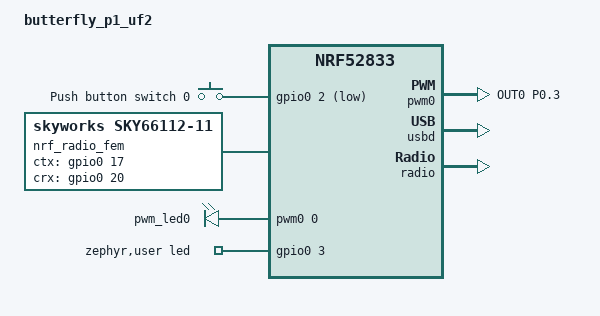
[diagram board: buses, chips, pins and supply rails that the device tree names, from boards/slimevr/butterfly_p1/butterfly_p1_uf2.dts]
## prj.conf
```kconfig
#CONFIG_NCS_SAMPLES_DEFAULTS
CONFIG_ASSERT=y
CONFIG_ASSERT_NO_COND_INFO=y
CONFIG_ASSERT_NO_MSG_INFO=y
CONFIG_RESET_ON_FATAL_ERROR=y

CONFIG_NCS_APPLICATION_BOOT_BANNER_STRING="SlimeVR-Tracker-nRF-Receiver"
#CONFIG_NCS_BOOT_BANNER=n
CONFIG_BOOT_BANNER=n

CONFIG_ESB=y
CONFIG_NEWLIB_LIBC=y
CONFIG_CBPRINTF_FP_SUPPORT=y

CONFIG_FPU=y

CONFIG_USB_DEVICE_STACK=y
CONFIG_USB_DEVICE_HID=y
CONFIG_USB_DEVICE_VID=0x1209
CONFIG_USB_DEVICE_PID=0x7690
CONFIG_USB_HID_BOOT_PROTOCOL=y
CONFIG_USB_DEVICE_INITIALIZE_AT_BOOT=n
CONFIG_USB_CDC_ACM=y
CONFIG_UART_INTERRUPT_DRIVEN=y
#CONFIG_USB_WORKQUEUE_STACK_SIZE=512

CONFIG_SERIAL=y
CONFIG_CONSOLE=y
CONFIG_UART_CONSOLE=y
CONFIG_UART_LINE_CTRL=y

#CONFIG_USE_SEGGER_RTT=y
CONFIG_LOG=y
#CONFIG_PRINTK=y
CONFIG_LOG_MODE_DEFERRED=y
CONFIG_LOG_SPEED=y
#CONFIG_LOG_BACKEND_RTT=y
CONFIG_USB_DRIVER_LOG_LEVEL_WRN=y
CONFIG_USB_DEVICE_LOG_LEVEL_WRN=y
CONFIG_USB_CDC_ACM_LOG_LEVEL_OFF=y
CONFIG_LOG_PROCESS_THREAD_SLEEP_MS=100
CONFIG_LOG_PROCESS_THREAD_STACK_SIZE=1024
CONFIG_LOG_PROCESS_THREAD_STARTUP_DELAY_MS=0

CONFIG_LOG_BACKEND_UART=y
CONFIG_LOG_MODE_DEFERRED=y

CONFIG_CONSOLE_SUBSYS=y
CONFIG_CONSOLE_GETLINE=y

CONFIG_NVS_LOG_LEVEL_WRN=y
CONFIG_USB_HID_LOG_LEVEL_WRN=y

CONFIG_USB_DEVICE_SOF=y
CONFIG_USB_HID_REPORTS=256

#CONFIG_USB_HID_POLL_INTERVAL_MS=1
CONFIG_USB_HID_POLL_INTERVAL_MS=0
CONFIG_HID_INTERRUPT_EP_MPS=64
#CONFIG_ENABLE_HID_INT_OUT_EP=y

CONFIG_GPIO=y
CONFIG_PWM=y

CONFIG_NVS=y

CONFIG_FLASH=y
CONFIG_FLASH_PAGE_LAYOUT=y
CONFIG_FLASH_MAP=y

CONFIG_SETTINGS=y
CONFIG_SETTINGS_NVS=y
CONFIG_SETTINGS_RUNTIME=y
CONFIG_SETTINGS_NONE=y

CONFIG_MPU_ALLOW_FLASH_WRITE=y

CONFIG_NVS_LOOKUP_CACHE=y

CONFIG_ESB_TX_FIFO_SIZE=1
CONFIG_NRFX_TIMER1=y

#speed up boot? (use internal rc oscillator)
#CONFIG_CLOCK_CONTROL_NRF_K32SRC_RC=y
#speed up boot? (synthesize lf clock)
CONFIG_CLOCK_CONTROL_NRF_K32SRC_SYNTH=y

# dont need it
CONFIG_CRYPTO=n

CONFIG_THREAD_NAME=y
#CONFIG_SYSTEM_WORKQUEUE_STACK_SIZE=256
CONFIG_MAIN_STACK_SIZE=512

#CONFIG_HEAP_MEM_POOL_SIZE=2048
CONFIG_ISR_STACK_SIZE=1024
```

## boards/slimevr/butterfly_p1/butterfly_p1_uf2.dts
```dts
// Copyright (c) 2024 Nordic Semiconductor ASA
// SPDX-License-Identifier: Apache-2.0

/dts-v1/;
#include <nordic/nrf52833_qiaa.dtsi>

//move to dtsi?
&pinctrl {
	pwm0_default: pwm0_default {
		group1 {
			psels = <NRF_PSEL(PWM_OUT0, 0, 3)>;
			nordic,drive-mode = <NRF_DRIVE_D0S1>;
		};
	};

	pwm0_sleep: pwm0_sleep {
		group1 {
			psels = <NRF_PSEL(PWM_OUT0, 0, 3)>;
			low-power-enable;
		};
	};
};
//end

/ {
	model = "butterfly_p1_uf2";
	compatible = "butterfly_p1_uf2";

	aliases {
		sw0 = &button0;
		pwm-led0 = &pwm_led0;
	};

	buttons {
		compatible = "gpio-keys";
		button0: button_0 {
			gpios = <&gpio0 2 (GPIO_PULL_UP | GPIO_ACTIVE_LOW)>;
			label = "Push button switch 0";
		};
	};

	chosen {
		zephyr,sram = &sram0;
		zephyr,flash = &flash0;
		zephyr,console = &cdc_acm_uart0;
		zephyr,shell-uart = &cdc_acm_uart0;
	};

	nrf_radio_fem: skyFem {
	    compatible = "skyworks,sky66112-11", "generic-fem-two-ctrl-pins";
	    ctx-gpios = <&gpio0 17 GPIO_ACTIVE_HIGH>;
	    ctx-settle-time-us = <1>;
	    crx-gpios = <&gpio0 20 GPIO_ACTIVE_HIGH>;
	    crx-settle-time-us = <1>;
	    tx-gain-db = <22>;
	    rx-gain-db = <12>;
	};

	pwmleds {
		compatible = "pwm-leds";
		pwm_led0: pwm_led_0 {
			pwms = <&pwm0 0 PWM_MSEC(1) PWM_POLARITY_NORMAL>;
		};
	};

	zephyr,user {
		led-gpios = <&gpio0 3 GPIO_OPEN_SOURCE>;
	};
};

&gpiote {
	status = "okay";
};

&gpio0 {
	status = "okay";
};

&gpio1 {
	status = "okay";
};

&pwm0 {
	status = "okay";
	pinctrl-0 = <&pwm0_default>;
	pinctrl-1 = <&pwm0_sleep>;
	pinctrl-names = "default", "sleep";
};

zephyr_udc0: &usbd {
	compatible = "nordic,nrf-usbd";
	status = "okay";
	cdc_acm_uart0: cdc_acm_uart0 {
		compatible = "zephyr,cdc-acm-uart";
	};
};

&nfct {
	status = "disabled";
};

&radio {
	fem = <&nrf_radio_fem>;
};
```

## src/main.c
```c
/*
	SlimeVR Code is placed under the MIT license
	Copyright (c) 2025 SlimeVR Contributors

	Permission is hereby granted, free of charge, to any person obtaining a copy
	of this software and associated documentation files (the "Software"), to deal
	in the Software without restriction, including without limitation the rights
	to use, copy, modify, merge, publish, distribute, sublicense, and/or sell
	copies of the Software, and to permit persons to whom the Software is
	furnished to do so, subject to the following conditions:

	The above copyright notice and this permission notice shall be included in
	all copies or substantial portions of the Software.

	THE SOFTWARE IS PROVIDED "AS IS", WITHOUT WARRANTY OF ANY KIND, EXPRESS OR
	IMPLIED, INCLUDING BUT NOT LIMITED TO THE WARRANTIES OF MERCHANTABILITY,
	FITNESS FOR A PARTICULAR PURPOSE AND NONINFRINGEMENT. IN NO EVENT SHALL THE
	AUTHORS OR COPYRIGHT HOLDERS BE LIABLE FOR ANY CLAIM, DAMAGES OR OTHER
	LIABILITY, WHETHER IN AN ACTION OF CONTRACT, TORT OR OTHERWISE, ARISING FROM,
	OUT OF OR IN CONNECTION WITH THE SOFTWARE OR THE USE OR OTHER DEALINGS IN
	THE SOFTWARE.
*/
#include "globals.h"
#include "system/system.h"

#include <zephyr/kernel.h>

LOG_MODULE_REGISTER(main, LOG_LEVEL_INF);

int main(void)
{
	/*
	 * @brief 程式主進入點
	 *
	 * Zephyr RTOS 會在核心初始化完成後呼叫 main() 函式。
	 * 在這個專案中，大部分的初始化和主要邏輯都透過 Zephyr 的
	 * application-specific system initialization 功能來完成，
	 * 這意味著許多模組會在 main() 被呼叫之前就自行初始化。
	 *
	 * 詳情可參考 Zephyr 的文件：
	 * https://docs.zephyrproject.org/latest/application/index.html#application-specific-system-initialization
	 */

	// 這裡的程式碼會在所有自動初始化的模組都完成後執行。
	// 目前它只做了一件事：設定 LED 的狀態，以表示系統正在正常運作。
	set_led(SYS_LED_PATTERN_ACTIVE_PERSIST, SYS_LED_PRIORITY_SYSTEM);

	// main 函式在 Zephyr 中通常不會返回。如果返回 0，系統會進入 idle 狀態。
	return 0;
}
```

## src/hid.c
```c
/*
	SlimeVR Code is placed under the MIT license
	Copyright (c) 2025 SlimeVR Contributors

	Permission is hereby granted, free of charge, to any person obtaining a copy
	of this software and associated documentation files (the "Software"), to deal
	in the Software without restriction, including without limitation the rights
	to use, copy, modify, merge, publish, distribute, sublicense, and/or sell
	copies of the Software, and to permit persons to whom the Software is
	furnished to do so, subject to the following conditions:

	The above copyright notice and this permission notice shall be included in
	all copies or substantial portions of the Software.

	THE SOFTWARE IS PROVIDED "AS IS", WITHOUT WARRANTY OF ANY KIND, EXPRESS OR
	IMPLIED, INCLUDING BUT NOT LIMITED TO THE WARRANTIES OF MERCHANTABILITY,
	FITNESS FOR A PARTICULAR PURPOSE AND NONINFRINGEMENT. IN NO EVENT SHALL THE
	AUTHORS OR COPYRIGHT HOLDERS BE LIABLE FOR ANY CLAIM, DAMAGES OR OTHER
	LIABILITY, WHETHER IN AN ACTION OF CONTRACT, TORT OR OTHERWISE, ARISING FROM,
	OUT OF OR IN CONNECTION WITH THE SOFTWARE OR THE USE OR OTHER DEALINGS IN
	THE SOFTWARE.
*/
#include "globals.h"

#include <zephyr/kernel.h>
#include <zephyr/usb/usb_device.h>
#include <zephyr/usb/class/usb_hid.h>

// @brief 這個檔案負責所有與 USB HID (Human Interface Device) 相關的通訊。
// 接收器透過模擬一個 HID 裝置，將從 trackers 收到的姿態資料傳送給電腦上的 SlimeVR Server。

// @brief Zephyr 工作佇列 (Work Queue) 項目，用於在背景執行緒中非同步地傳送 HID 報告。
static struct k_work report_send;

// @brief 定義單一 tracker 報告的資料結構。每個報告 16 位元組。
static struct tracker_report {
	uint8_t data[16];
} __packed report = {
	.data = {0}
};;

// @brief 這是一個環形緩衝區 (Ring Buffer) 或 FIFO，用於儲存從無線端收到、等待透過 USB 傳送的 tracker 報告。
// MAX_TRACKERS 定義了可以同時處理的最大 tracker 數量。
struct tracker_report reports[MAX_TRACKERS];
// 使用原子變數 (atomic) 來安全地在主執行緒和中斷服務常式之間共享讀寫索引，避免競態條件 (race condition)。
atomic_t report_write_index = 0; // 下一個要寫入的位置
atomic_t report_read_index = 0;  // 下一個要讀取的位置
// 如果 read_index == write_index，表示緩衝區是空的。
// 如果 (write_index + 1) % MAX_TRACKERS == read_index，表示緩衝區是滿的。


static bool configured; // USB 裝置是否已被主機成功配置
static const struct device *hdev; // HID 裝置的驅動程式實例
static ATOMIC_DEFINE(hid_ep_in_busy, 1); // 一個原子標誌，用於表示 HID IN Endpoint 是否正在忙於傳輸資料。

#define HID_EP_BUSY_FLAG	0
#define REPORT_PERIOD		K_MSEC(1) // 定期觸發報告傳送的間隔 (1 毫秒)
#define HID_EP_REPORT_COUNT 4 // 每次 USB 傳輸時，捆綁傳送的報告數量

// @brief 用於捆綁多個報告以進行單次 USB 傳輸的緩衝區。這可以提高傳輸效率。
struct tracker_report ep_report_buffer[HID_EP_REPORT_COUNT];

LOG_MODULE_REGISTER(hid_event, LOG_LEVEL_INF);

static void report_event_handler(struct k_timer *dummy);
// @brief 定義一個 Zephyr 計時器，它會定期觸發 `report_event_handler`。
static K_TIMER_DEFINE(event_timer, report_event_handler, NULL);

/**
 * @brief USB HID 報告描述符 (Report Descriptor)
 *
 * 這個描述符告訴主機 (電腦) 這個 HID 裝置是什麼樣的裝置，以及它會傳送什麼樣的資料。
 * 在這裡，它被定義為一個通用的、未指定用途的裝置，可以傳送 64 位元組的輸入報告。
 * SlimeVR Server 會知道如何解析這個報告。
 */
static const uint8_t hid_report_desc[] = {
	HID_USAGE_PAGE(HID_USAGE_GEN_DESKTOP),
	HID_USAGE(HID_USAGE_GEN_DESKTOP_UNDEFINED),
	HID_COLLECTION(HID_COLLECTION_APPLICATION),
		HID_USAGE(HID_USAGE_GEN_DESKTOP_UNDEFINED),
		HID_REPORT_SIZE(8),       // 每個欄位 8 位元
		HID_REPORT_COUNT(64),     // 總共 64 個欄位 (64 位元組)
		HID_INPUT(0x02),          // 這是一個輸入報告 (裝置 -> 主機)
	HID_END_COLLECTION,
};

// 用於輪流傳送每個 tracker 的註冊資訊
uint16_t sent_device_addr = 0;
bool usb_enabled = false;
int64_t last_registration_sent = 0;

/**
 * @brief 封裝一個 tracker 的註冊資訊封包
 *
 * 這種封包 (類型 255) 用於告訴 SlimeVR Server 一個 tracker 的 ID 和它的無線位址之間的關聯。
 */
static void packet_device_addr(uint8_t *report, uint16_t id) // associate id and tracker address
{
	report[0] = 255; // 封包類型 255 代表註冊資訊
	report[1] = id;  // Tracker ID
	memcpy(&report[2], &stored_tracker_addr[id], 6); // Tracker 的 6 位元組無線位址
	memset(&report[8], 0, 8); // 剩餘 8 位元組未使用
}

static uint32_t dropped_reports = 0;
static uint16_t max_dropped_reports = 0;

/**
 * @brief 傳送 HID 報告的背景工作函式
 *
 * 這個函式會被 `report_send` 工作佇列所執行。
 * 它會檢查 FIFO 中是否有待傳送的 tracker 資料，如果有的話，就把它們和其他註冊資訊一起
 * 透過 USB HID IN endpoint 傳送出去。
 */
static void send_report(struct k_work *work)
{
	if (!usb_enabled || !stored_trackers) return;

	size_t write_idx = (size_t)atomic_get(&report_write_index);
	size_t read_idx = (size_t)atomic_get(&report_read_index);

	// 如果 FIFO 是空的，且距離上次傳送註冊資訊還不到 100ms，就直接返回。
	// 這樣可以避免過於頻繁地傳送註冊資訊。
	if (write_idx == read_idx && k_uptime_get() - 100 < last_registration_sent) {
		return;
	}

	int ret, wrote;

	last_registration_sent = k_uptime_get();

	// 檢查 HID IN endpoint 是否空閒。如果空閒，就設定為忙碌狀態並開始傳送。
	if (!atomic_test_and_set_bit(hid_ep_in_busy, HID_EP_BUSY_FLAG)) {
		// 計算 FIFO 中有多少個待傳送的報告
		int available_reports = write_idx - read_idx;
		if (available_reports < 0) available_reports += MAX_TRACKERS;
		size_t reports_to_send = (size_t)((available_reports > HID_EP_REPORT_COUNT) ? HID_EP_REPORT_COUNT : available_reports);

		int epind;
		// 從 FIFO 中複製 tracker 資料到端點緩衝區
		for (epind = 0; epind < reports_to_send; epind++) {
			ep_report_buffer[epind] = reports[read_idx];
			epind++;
			read_idx++;
			if (read_idx == MAX_TRACKERS) read_idx = 0;
			atomic_set(&report_read_index, read_idx); // 更新讀取索引
		}

		// 如果還有剩餘的空間，就用註冊資訊來填充。
		// 這樣可以確保即使沒有新的 tracker 資料，註冊資訊也能定期被傳送。
		for (; epind < HID_EP_REPORT_COUNT; epind++) {
			if (stored_trackers > 0) {
				packet_device_addr(ep_report_buffer[epind].data, sent_device_addr);
				sent_device_addr = (sent_device_addr + 1) % stored_trackers; // 輪流傳送每個 tracker
			}
		}

		// 透過 USB HID 中斷端點寫入資料
		ret = hid_int_ep_write(hdev, (uint8_t *)ep_report_buffer, sizeof(report) * HID_EP_REPORT_COUNT, &wrote);

		if (ret != 0) {
			LOG_ERR("Failed to submit report");
		}
	} else {
		// Endpoint 正在忙碌，本次不傳送
		//LOG_DBG("HID IN endpoint busy");
	}
}

#define DROPPED_REPORT_LOG_INTERVAL 5000

/**
 * @brief 一個獨立的執行緒，用於定期印出被丟棄的報告數量。
 *
 * 如果 FIFO 滿了，新的報告就會被丟棄。這個執行緒有助於在除錯時監控系統是否因為處理不過來而丟失資料。
 */
static void hid_dropped_reports_logging(void)
{
	while (1) {
		if (dropped_reports) LOG_INF("Dropped reports: %u (max: %u)", dropped_reports, max_dropped_reports);
		dropped_reports = 0;
		max_dropped_reports = 0;
		k_msleep(DROPPED_REPORT_LOG_INTERVAL);
	}
}

K_THREAD_DEFINE(hid_dropped_reports_logging_thread, 256, hid_dropped_reports_logging, NULL, NULL, NULL, 6, 0, 0);

/**
 * @brief HID IN Endpoint 中斷傳輸完成的回呼函式
 *
 * 當 `hid_int_ep_write` 的資料成功傳送給主機後，USB 驅動程式會呼叫這個函式。
 * 它的主要作用是清除 `hid_ep_in_busy` 標誌，這樣 `send_report` 函式就知道可以傳送下一批資料了。
 */
static void int_in_ready_cb(const struct device *dev)
{
	ARG_UNUSED(dev);
	if (!atomic_test_and_clear_bit(hid_ep_in_busy, HID_EP_BUSY_FLAG)) {
		LOG_WRN("IN endpoint callback without preceding buffer write");
	}
}

/**
 * @brief HID On Idle 回呼函式 (在此專案中較少使用)
 *
 * 當主機一段時間沒有請求報告時，可能會觸發此回呼。
 */
static void on_idle_cb(const struct device *dev, uint16_t report_id)
{
	LOG_DBG("On idle callback");
	k_work_submit(&report_send);
}

/**
 * @brief 由 `event_timer` 定期呼叫的事件處理器
 *
 * 這個函式只是簡單地將 `report_send` 工作提交到系統工作佇列，
 * 觸發一次 `send_report` 函式的執行。
 */
static void report_event_handler(struct k_timer *dummy)
{
	if (usb_enabled)
		k_work_submit(&report_send);
}

static void protocol_cb(const struct device *dev, uint8_t protocol)
{
	LOG_INF("New protocol: %s", protocol == HID_PROTOCOL_BOOT ?
		"boot" : "report");
}

// @brief 定義一組 HID 操作的回呼函式，並傳遞給 USB HID 驅動程式。
static const struct hid_ops ops = {
	.int_in_ready = int_in_ready_cb,
	.on_idle = on_idle_cb,
	.protocol_change = protocol_cb,
};

/**
 * @brief USB 裝置狀態改變時的回呼函式
 *
 * 這個函式處理 USB 的各種事件，例如重置、成功配置等。
 * 當 `status` 為 `USB_DC_CONFIGURED` 時，表示裝置已準備好與主機通訊。
 */
static void status_cb(enum usb_dc_status_code status, const uint8_t *param)
{
	switch (status) {
	case USB_DC_RESET:
		configured = false;
		break;
	case USB_DC_CONFIGURED:
		if (*param > 0 && !configured) { // param > 0 表示配置成功
			int_in_ready_cb(hdev); // 清除 busy 標誌，準備首次傳送
			configured = true;
		} else {
			configured = false;
		}
		break;
	default:
		break;
	}
}

/**
 * @brief HID 裝置的初始化函式
 *
 * 透過 `SYS_INIT` 巨集，這個函式會在應用程式啟動時被自動呼叫。
 * 它負責取得 HID 驅動程式的實例、註冊 HID 裝置、設定回呼函式，並啟動定時器。
 */
static int composite_pre_init()
{
	hdev = device_get_binding("HID_0");
	if (hdev == NULL) {
		LOG_ERR("Cannot get USB HID Device");
		return -ENODEV;
	}

	usb_hid_register_device(hdev, hid_report_desc, sizeof(hid_report_desc),
				&ops);

	atomic_set_bit(hid_ep_in_busy, HID_EP_BUSY_FLAG);
	k_timer_start(&event_timer, REPORT_PERIOD, REPORT_PERIOD);

	return usb_hid_init(hdev);
}

SYS_INIT(composite_pre_init, APPLICATION, CONFIG_KERNEL_INIT_PRIORITY_DEVICE);

/**
 * @brief 啟用 USB 的獨立執行緒
 *
 * 呼叫 `usb_enable` 會啟動 USB 硬體並開始處理來自電腦的事件。
 * 將它放在一個獨立的執行緒中可以避免阻塞主執行緒。
 */
void usb_init_thread(void)
{
	usb_enable(status_cb);
	k_work_init(&report_send, send_report);
	usb_enabled = true;
}

K_THREAD_DEFINE(usb_init_thread_id, 256, usb_init_thread, NULL, NULL, NULL, 6, 0, 0);

// @brief 封包格式速查表
//|b0      |b1      |b2      |b3      |b4      |b5      |b6      |b7      |b8      |b9      |b10     |b11     |b12     |b13     |b14     |b15     |
//|type    |id      |packet data                                                                                                                  |
//|0       |id      |proto   |batt    |batt_v  |temp    |brd_id  |mcu_id  |imu_id  |mag_id  |fw_date          |major   |minor   |patch   |rssi    | info
//|1       |id      |q0               |q1               |q2               |q3               |a0               |a1               |a2               | full precision quat
//|2       |id      |batt    |batt_v  |temp    |q_buf                              |a0               |a1               |a2               |rssi    | reduced precision quat
//|3	   |id      |svr_stat|status  |resv                                                                                              |rssi    | status
//|4       |id      |q0               |q1               |q2               |q3               |m0               |m1               |m2               |
//|255     |id      |addr                                                 |resv                                                                   | tracker id association

#ifndef CONFIG_SOC_NRF52820
#include "util.h"
// @brief 以下區塊用於偵測和過濾異常的旋轉資料 (四元數)。
// 透過比較當前封包和上一個有效封包之間的旋轉差異，來判斷資料是否可能出錯。
// 這種機制可以過濾掉因為無線干擾等原因造成的瞬時跳動資料。

// 上一個有效的資料
static float last_q_trackers[MAX_TRACKERS][4] = {0};
static uint32_t last_v_trackers[MAX_TRACKERS] = {0};
static uint8_t last_p_trackers[MAX_TRACKERS] = {0};
static int last_valid_trackers[MAX_TRACKERS] = {0};
// 上一個收到的資料 (不論是否有效)
static float cur_q_trackers[MAX_TRACKERS][4] = {0};
static uint32_t cur_v_trackers[MAX_TRACKERS] = {0};
static uint8_t cur_p_trackers[MAX_TRACKERS] = {0};
#endif

/**
 * @brief 將一個從無線端收到的封包寫入 HID FIFO
 *
 * 這是外部模組 (如 ESB 無線通訊模組) 呼叫的函式，用於將 tracker 資料傳遞給 HID 模組。
 *
 * @param data 指向 16 位元組封包資料的指標
 * @param rssi 接收時的信號強度指示
 */
void hid_write_packet_n(uint8_t *data, uint8_t rssi)
{
#ifndef CONFIG_SOC_NRF52820
	// @brief 異常旋轉偵測邏輯，僅在非 nRF52820 的晶片上啟用 (可能是因為效能考量)
	if (data[0] == 1 || data[0] == 2 || data[0] == 4)
	{
		// ... (此處為複雜的四元數有效性檢查邏輯，此處省略細節註解)
		// ...
	}
#endif

	// 將封包資料複製到一個臨時的 report 結構中
	memcpy(&report.data, data, sizeof(report));
	// 對於非高精度四元數的封包，將最後一個位元組用來存放 RSSI (信號強度)
	if (data[0] != 1 && data[0] != 4) {
		report.data[15] = rssi;
	}

	size_t write_idx = (size_t)atomic_get(&report_write_index);
	size_t read_idx = (size_t)atomic_get(&report_read_index);

	// @brief 優化：如果 FIFO 中已經存在同一個 tracker 的舊資料，則直接覆蓋它。
	// 這可以確保主機總是收到最新的資料，並避免 FIFO 中充滿了同一個 tracker 的過時資訊。
	if (write_idx != read_idx) {
		size_t check_index = (read_idx + 1) % MAX_TRACKERS;

		while (check_index != write_idx) {
			if (reports[check_index].data[1] == data[1]) { // data[1] 是 tracker ID
				// 找到舊資料，直接覆蓋
				reports[check_index] = report;
				return;
			}
			check_index = (check_index + 1) % MAX_TRACKERS;
		}
	}

	// 檢查 FIFO 是否已滿。如果滿了，就丟棄這個封包。
	if ((write_idx + 1) % MAX_TRACKERS == read_idx) {
		dropped_reports++;
		if (dropped_reports > max_dropped_reports) max_dropped_reports = dropped_reports;
		return;
	}

	// 將新封包寫入 FIFO
	reports[write_idx] = report;

	// 更新寫入索引
	write_idx = (write_idx + 1) % MAX_TRACKERS;
	atomic_set(&report_write_index, write_idx);
}
```
